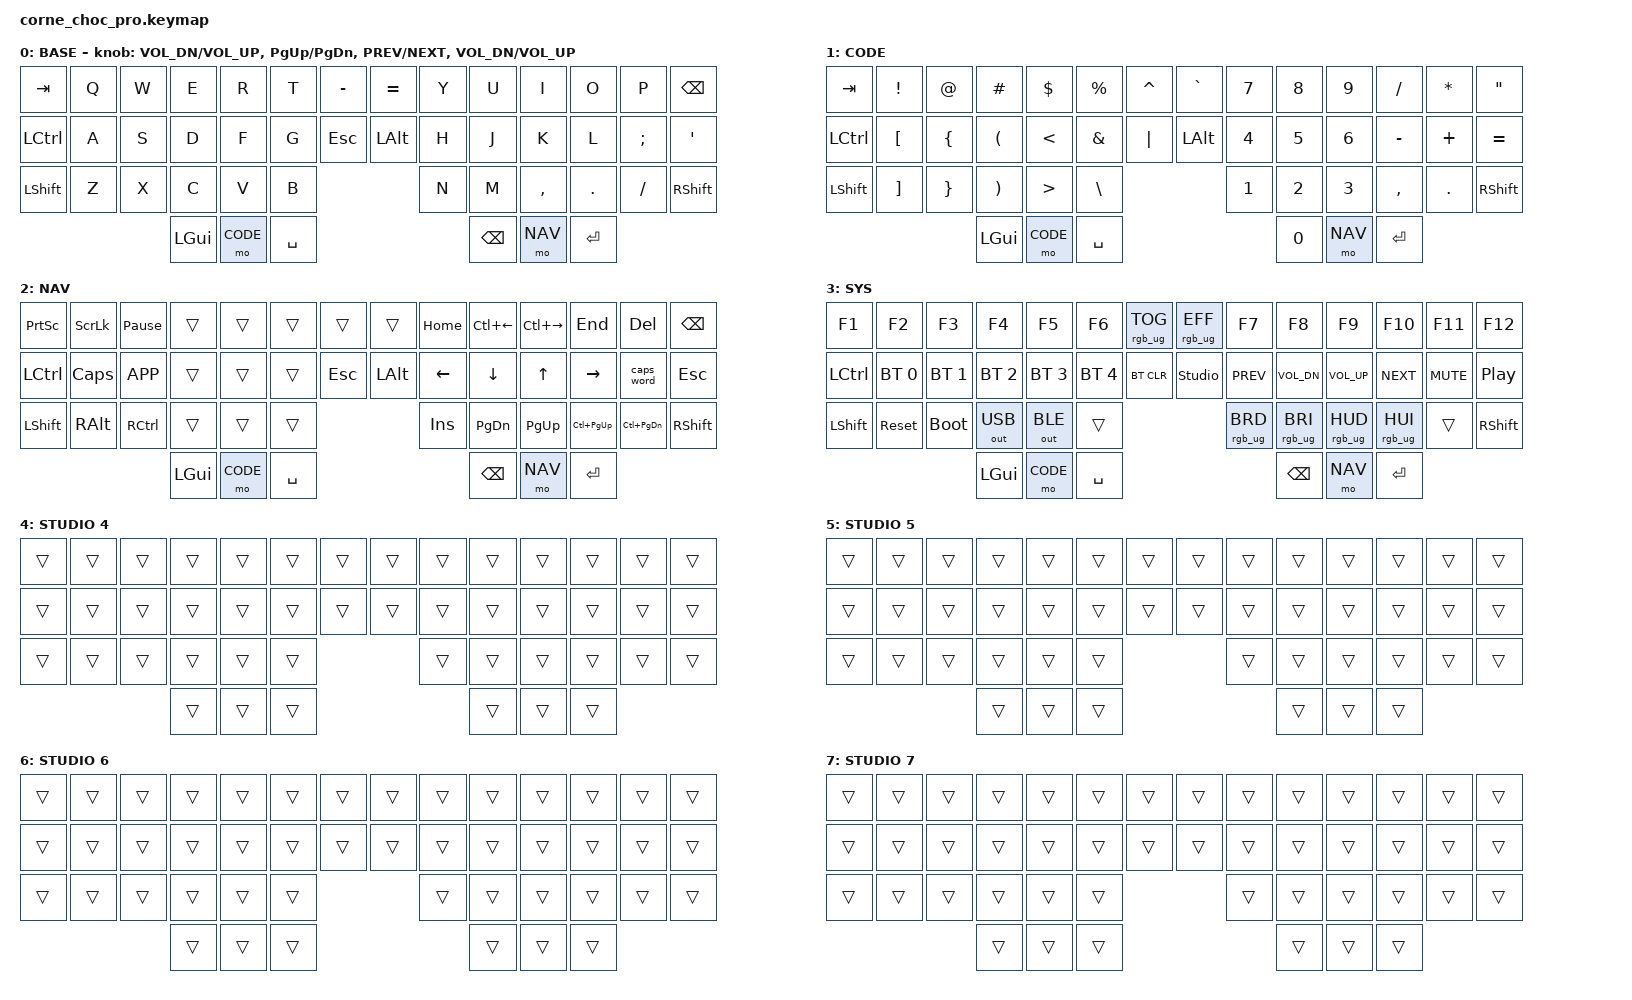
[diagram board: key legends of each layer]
/*
 * Copyright (c) 2020 The ZMK Contributors
 *
 * SPDX-License-Identifier: MIT
 */

#include <behaviors.dtsi>
#include <dt-bindings/zmk/keys.h>
#include <dt-bindings/zmk/bt.h>
#include <dt-bindings/zmk/outputs.h>
#include <dt-bindings/zmk/rgb.h>

#define BASE 0
#define CODE 1
#define NAV  2
#define SYS  3

/ {
    chosen {
        zmk,physical-layout = &default_layout;
    };

    conditional_layers {
        compatible = "zmk,conditional-layers";

        system_layer {
            if-layers = <CODE NAV>;
            then-layer = <SYS>;
        };
    };

    keymap {
        compatible = "zmk,keymap";

        base_layer {
            display-name = "BASE";
            bindings = <
                &kp TAB   &kp Q &kp W &kp E &kp R &kp T &kp MINUS &kp EQUAL &kp Y &kp U &kp I     &kp O   &kp P    &kp BSPC
                &kp LCTRL &kp A &kp S &kp D &kp F &kp G &kp ESC   &kp LALT  &kp H &kp J &kp K     &kp L   &kp SEMI &kp SQT
                &kp LSHFT &kp Z &kp X &kp C &kp V &kp B                      &kp N &kp M &kp COMMA &kp DOT &kp FSLH &kp RSHFT
                                      &kp LGUI &mo CODE &kp SPACE              &kp BSPC &mo NAV &kp RET
            >;
            sensor-bindings = <&inc_dec_kp C_VOL_DN C_VOL_UP &inc_dec_kp PG_UP PG_DN &inc_dec_kp C_PREV C_NEXT &inc_dec_kp C_VOL_DN C_VOL_UP>;
        };

        code_layer {
            display-name = "CODE";
            bindings = <
                &kp TAB   &kp EXCL &kp AT   &kp HASH &kp DLLR &kp PRCNT &kp CARET &kp GRAVE &kp N7 &kp N8 &kp N9 &kp FSLH  &kp ASTRK &kp DQT
                &kp LCTRL &kp LBKT &kp LBRC &kp LPAR &kp LT   &kp AMPS  &kp PIPE  &kp LALT  &kp N4 &kp N5 &kp N6 &kp MINUS &kp PLUS  &kp EQUAL
                &kp LSHFT &kp RBKT &kp RBRC &kp RPAR &kp GT   &kp BSLH                       &kp N1 &kp N2 &kp N3 &kp COMMA &kp DOT   &kp RSHFT
                                                    &kp LGUI &mo CODE &kp SPACE              &kp N0 &mo NAV &kp RET
            >;
        };

        nav_layer {
            display-name = "NAV";
            bindings = <
                &kp PSCRN &kp SLCK &kp PAUSE_BREAK &trans &trans &trans &trans &trans &kp HOME &kp LC(LEFT) &kp LC(RIGHT) &kp END   &kp DEL   &kp BSPC
                &kp LCTRL &kp CAPS &kp K_APP       &trans &trans &trans &kp ESC &kp LALT &kp LEFT &kp DOWN     &kp UP        &kp RIGHT &caps_word &kp ESC
                &kp LSHFT &kp RALT &kp RCTRL       &trans &trans &trans                       &kp INS  &kp PG_DN    &kp PG_UP     &kp LC(PG_UP) &kp LC(PG_DN) &kp RSHFT
                                                    &kp LGUI &mo CODE &kp SPACE                &kp BSPC &mo NAV &kp RET
            >;
        };

        sys_layer {
            display-name = "SYS";
            bindings = <
                &kp F1    &kp F2       &kp F3       &kp F4       &kp F5       &kp F6       &rgb_ug RGB_TOG &rgb_ug RGB_EFF &kp F7      &kp F8           &kp F9           &kp F10          &kp F11    &kp F12
                &kp LCTRL &bt BT_SEL 0 &bt BT_SEL 1 &bt BT_SEL 2 &bt BT_SEL 3 &bt BT_SEL 4 &bt BT_CLR       &studio_unlock  &kp C_PREV  &kp C_VOL_DN     &kp C_VOL_UP     &kp C_NEXT       &kp C_MUTE &kp C_PP
                &kp LSHFT &sys_reset   &bootloader  &out OUT_USB &out OUT_BLE &trans                                            &rgb_ug RGB_BRD &rgb_ug RGB_BRI &rgb_ug RGB_HUD &rgb_ug RGB_HUI &trans &kp RSHFT
                                                                   &kp LGUI &mo CODE &kp SPACE                                  &kp BSPC &mo NAV &kp RET
            >;
        };

        studio_layer_4 {
            display-name = "STUDIO 4";
            bindings = <
                &trans &trans &trans &trans &trans &trans &trans &trans &trans &trans &trans &trans &trans &trans
                &trans &trans &trans &trans &trans &trans &trans &trans &trans &trans &trans &trans &trans &trans
                &trans &trans &trans &trans &trans &trans               &trans &trans &trans &trans &trans &trans
                                     &trans &trans &trans               &trans &trans &trans
            >;
        };

        studio_layer_5 {
            display-name = "STUDIO 5";
            bindings = <
                &trans &trans &trans &trans &trans &trans &trans &trans &trans &trans &trans &trans &trans &trans
                &trans &trans &trans &trans &trans &trans &trans &trans &trans &trans &trans &trans &trans &trans
                &trans &trans &trans &trans &trans &trans               &trans &trans &trans &trans &trans &trans
                                     &trans &trans &trans               &trans &trans &trans
            >;
        };

        studio_layer_6 {
            display-name = "STUDIO 6";
            bindings = <
                &trans &trans &trans &trans &trans &trans &trans &trans &trans &trans &trans &trans &trans &trans
                &trans &trans &trans &trans &trans &trans &trans &trans &trans &trans &trans &trans &trans &trans
                &trans &trans &trans &trans &trans &trans               &trans &trans &trans &trans &trans &trans
                                     &trans &trans &trans               &trans &trans &trans
            >;
        };

        studio_layer_7 {
            display-name = "STUDIO 7";
            bindings = <
                &trans &trans &trans &trans &trans &trans &trans &trans &trans &trans &trans &trans &trans &trans
                &trans &trans &trans &trans &trans &trans &trans &trans &trans &trans &trans &trans &trans &trans
                &trans &trans &trans &trans &trans &trans               &trans &trans &trans &trans &trans &trans
                                     &trans &trans &trans               &trans &trans &trans
            >;
        };
    };
};
